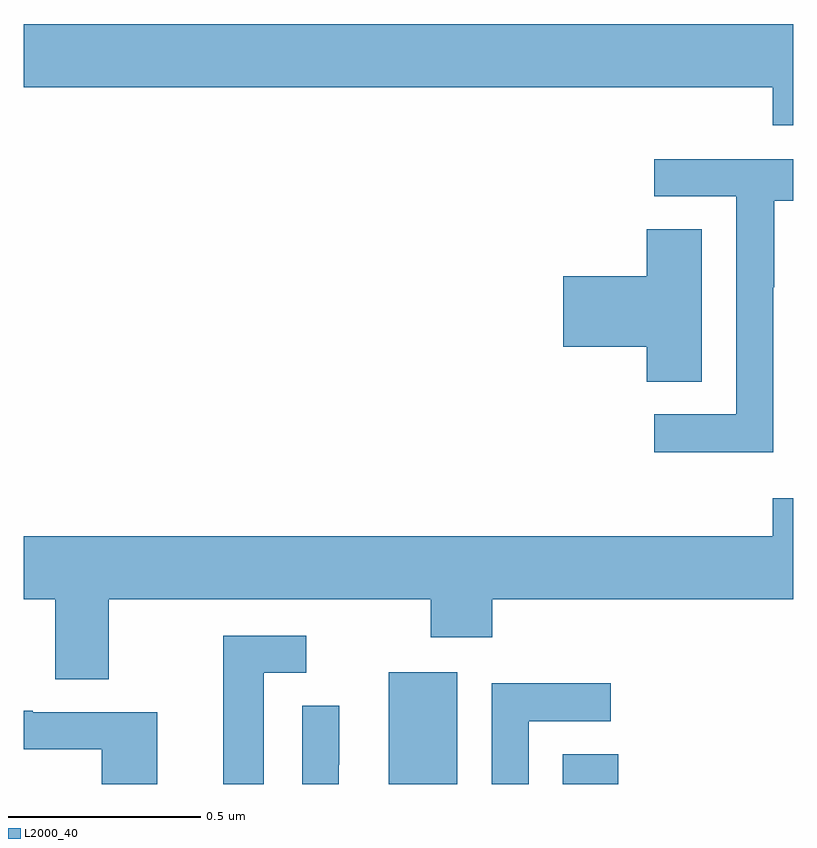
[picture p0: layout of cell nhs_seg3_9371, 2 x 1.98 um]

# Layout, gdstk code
import gdstk
lib = gdstk.Library(unit=1e-6, precision=1e-09)
def R(c, l, rs):  # rectangles x0, y0, x1, y1
    for r in rs: c.add(gdstk.rectangle(r[:2], r[2:], *l))
def P(c, l, *ps):  # polygons
    for p in ps: c.add(gdstk.Polygon(p, *l))
L2000_40 = (2000, 40)

nhs_seg3_9371 = lib.new_cell('nhs_seg3_9371')
R(nhs_seg3_9371, L2000_40, [(227.948,736.4,228.127,736.69), (228.401,736.4,228.545,736.478)])
P(nhs_seg3_9371, L2000_40, [(229,738.376),(227,738.376),(227,738.212),(228.947,738.212),(228.947,738.113),(229,738.113)],
  [(228.948,737.692),(228.951,737.692),(228.951,737.916),(229,737.916),(229,738.024),(228.639,738.024),(228.639,737.928),(228.852,737.928),(228.852,737.361),(228.639,737.361),(228.639,737.263),(228.948,737.263)],
  [(228.763,737.843),(228.62,737.843),(228.62,737.72),(228.402,737.72),(228.402,737.537),(228.62,737.537),(228.62,737.446),(228.763,737.446)],
  [(227.221,736.88),(228.058,736.88),(228.058,736.781),(228.218,736.781),(228.218,736.88),(229,736.88),(229,737.143),(228.947,737.143),(228.947,737.044),(227,737.044),(227,736.88),(227.081,736.88),(227.081,736.672),(227.221,736.672)],
  [(227.623,736.689),(227.734,736.689),(227.734,736.785),(227.519,736.785),(227.519,736.4),(227.623,736.4)],
  [(228.312,736.563),(228.526,736.563),(228.526,736.662),(228.216,736.662),(228.216,736.4),(228.312,736.4)],
  [(227.819,736.45),(227.82,736.45),(227.82,736.604),(227.724,736.604),(227.724,736.4),(227.819,736.4)],
  [(227.347,736.587),(227.023,736.587),(227.023,736.591),(227,736.591),(227,736.491),(227.202,736.491),(227.202,736.4),(227.347,736.4)])

lib.write_gds('nhs_seg3_9371.gds')
